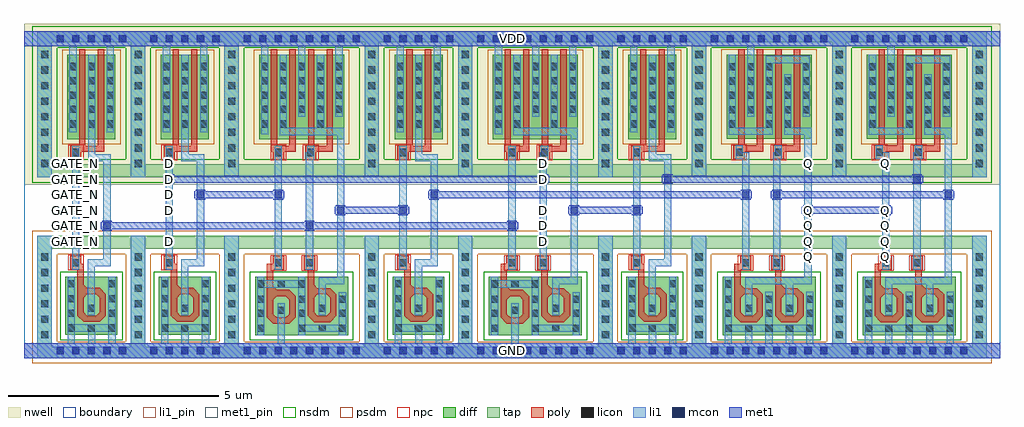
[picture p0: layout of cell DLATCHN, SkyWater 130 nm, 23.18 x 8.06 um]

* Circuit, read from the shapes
.subckt DLATCHN D GATE_N GND Q VDD
XM1 GND GATE_N n1 GND sky130_fd_pr__nfet_01v8 w=2.56 l=0.1473
XM2 GND D n2 GND sky130_fd_pr__nfet_01v8 w=2.56 l=0.1473
XM3 n3 n2 GND GND sky130_fd_pr__nfet_01v8 w=2.6 l=0.147
XM4 n3 n1 n4 GND sky130_fd_pr__nfet_01v8 w=2.56 l=0.1478
XM5 GND n4 n5 GND sky130_fd_pr__nfet_01v8 w=2.56 l=0.1473
XM6 n6 n1 GND GND sky130_fd_pr__nfet_01v8 w=2.6 l=0.147
XM7 n6 D n7 GND sky130_fd_pr__nfet_01v8 w=2.56 l=0.1478
XM8 GND n7 n8 GND sky130_fd_pr__nfet_01v8 w=2.56 l=0.1473
XM9 GND n5 Q GND sky130_fd_pr__nfet_01v8 w=2.56 l=0.1456
XM10 GND n9 Q GND sky130_fd_pr__nfet_01v8 w=2.56 l=0.1471
XM11 GND Q n9 GND sky130_fd_pr__nfet_01v8 w=2.56 l=0.1456
XM12 GND n8 n9 GND sky130_fd_pr__nfet_01v8 w=2.56 l=0.1469
XM13 n1 GATE_N VDD VDD sky130_fd_pr__pfet_01v8 w=2 l=0.15 m=2
XM14 n2 D VDD VDD sky130_fd_pr__pfet_01v8 w=2 l=0.15 m=2
XM15 n4 n2 VDD VDD sky130_fd_pr__pfet_01v8 w=2 l=0.15 m=2
XM16 n4 n1 VDD VDD sky130_fd_pr__pfet_01v8 w=2 l=0.15 m=2
XM17 n5 n4 VDD VDD sky130_fd_pr__pfet_01v8 w=2 l=0.15 m=2
XM18 n7 n1 VDD VDD sky130_fd_pr__pfet_01v8 w=2 l=0.15 m=2
XM19 n7 D VDD VDD sky130_fd_pr__pfet_01v8 w=2 l=0.15 m=2
XM20 n8 n7 VDD VDD sky130_fd_pr__pfet_01v8 w=2 l=0.15 m=2
XM21 VDD n5 n10 VDD sky130_fd_pr__pfet_01v8 w=2 l=0.15 m=2
XM22 Q n9 n10 VDD sky130_fd_pr__pfet_01v8 w=2 l=0.15 m=2
XM23 VDD Q n11 VDD sky130_fd_pr__pfet_01v8 w=2 l=0.15 m=2
XM24 n9 n8 n11 VDD sky130_fd_pr__pfet_01v8 w=2 l=0.15 m=2
.ends

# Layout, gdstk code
from math import pi, radians
import gdstk
lib = gdstk.Library(unit=1e-6, precision=1e-09)
def R(c, l, rs):  # rectangles x0, y0, x1, y1
    for r in rs: c.add(gdstk.rectangle(r[:2], r[2:], *l))
def A(c, l, x, y, w, h, nx, ny, dx, dy):  # array of equal rectangles
    R(c, l, [(x+i*dx, y+j*dy, x+i*dx+w, y+j*dy+h) for i in range(nx) for j in range(ny)])
def P(c, l, *ps):  # polygons
    for p in ps: c.add(gdstk.Polygon(p, *l))
nwell = (64, 20)
diff = (65, 20)
tap = (65, 44)
poly = (66, 20)
licon = (66, 44)
li1_pin = (67, 16)
li1 = (67, 20)
mcon = (67, 44)
met1_pin = (68, 16)
met1 = (68, 20)
nsdm = (93, 44)
psdm = (94, 20)
npc = (95, 20)
boundary = (235, 4)

diff_ring_side = lib.new_cell('diff_ring_side')
R(diff_ring_side, nwell, [(-0.435,3.93,0.435,7.75)])
R(diff_ring_side, tap, [(-0.17,-0.17,0.17,2.72), (-0.17,4.11,0.17,7.57)])
A(diff_ring_side, licon, -0.085, 0.285, 0.17, 0.17, 1, 6, 0, 0.37)
A(diff_ring_side, licon, -0.085, 4.355, 0.17, 0.17, 1, 8, 0, 0.37)
R(diff_ring_side, li1, [(-0.17,-0.17,0.17,2.72), (-0.17,4.11,0.17,7.57)])
R(diff_ring_side, met1, [(-0.17,-0.17,0.17,0.17), (-0.17,7.23,0.17,7.57)])
R(diff_ring_side, nsdm, [(-0.295,3.985,0.295,7.695)])
R(diff_ring_side, psdm, [(-0.295,-0.295,0.295,2.845)])

nmos_bottom = lib.new_cell('nmos_bottom')
R(nmos_bottom, diff, [(0,0,1.24,1.38)])
R(nmos_bottom, poly, [(0.43,0.27,0.81,0.42), (0.28,0.42,0.43,0.925), (0.81,0.42,0.96,0.925), (0.43,0.925,0.96,1.075), (0.81,1.075,0.96,1.51)])
P(nmos_bottom, poly, [(0.73,1.075),(0.81,1.075),(0.81,1.155)],
  [(0.28,0.925),(0.43,0.925),(0.43,1.075)],
  [(0.43,0.845),(0.43,0.925),(0.51,0.925)],
  [(0.73,0.925),(0.81,0.925),(0.81,0.845)],
  [(0.43,0.5),(0.43,0.42),(0.51,0.42)],
  [(0.73,0.42),(0.81,0.42),(0.81,0.5)],
  [(0.28,0.42),(0.43,0.42),(0.43,0.27)],
  [(0.81,0.27),(0.81,0.42),(0.96,0.42)])
A(nmos_bottom, licon, 0.05, 1.13, 0.17, 0.17, 3, 1, 0.485, 0)
R(nmos_bottom, licon, [(0.05,0.08,0.22,0.25), (1.02,0.08,1.19,0.25), (0.05,0.43,0.22,0.6), (1.02,0.43,1.19,0.6), (0.535,0.505,0.705,0.675), (0.05,0.77,0.22,0.94), (1.02,0.77,1.19,0.94)])
R(nmos_bottom, li1, [(0.05,0,0.22,1.13), (1.02,0,1.19,1.13), (0.535,0.425,0.705,0.755), (0.05,1.13,1.19,1.3), (0.05,1.3,0.22,1.38), (1.02,1.3,1.19,1.38)])
R(nmos_bottom, nsdm, [(-0.125,-0.125,1.365,1.505)])

pmos2 = lib.new_cell('pmos2')
R(pmos2, nwell, [(0.26,-2.18,1.76,0.18)])
R(pmos2, diff, [(0.44,-2,1.58,0)])
R(pmos2, poly, [(0.72,-2.305,1.31,-2.155), (0.72,-2.155,0.87,0.13), (1.16,-2.155,1.31,0.13)])
A(pmos2, licon, 0.49, -1.38, 0.17, 0.17, 3, 4, 0.44, 0.34)
R(pmos2, li1, [(0.49,-1.465,0.66,0.21), (0.93,-1.465,1.1,0), (1.37,-1.465,1.54,0.21)])
R(pmos2, psdm, [(0.315,-2.125,1.705,0.125)])

poly_li1_contact = lib.new_cell('poly_li1_contact')
R(poly_li1_contact, poly, [(-0.16,-0.14,0.17,0.13)])
R(poly_li1_contact, licon, [(-0.08,-0.09,0.09,0.08)])
R(poly_li1_contact, li1, [(-0.16,-0.09,0.17,0.08)])
R(poly_li1_contact, npc, [(-0.18,-0.19,0.19,0.18)])

nmos_top_trim1 = lib.new_cell('nmos_top_trim1')
R(nmos_top_trim1, diff, [(0,0,1.24,1.38)])
R(nmos_top_trim1, poly, [(0.43,0.31,0.81,0.46), (0.28,0.46,0.43,0.965), (0.81,0.46,0.96,0.965), (0.43,0.965,0.96,1.115), (0.81,1.115,0.96,1.545)])
P(nmos_top_trim1, poly, [(0.73,1.115),(0.81,1.115),(0.81,1.195)],
  [(0.28,0.965),(0.43,0.965),(0.43,1.115)],
  [(0.43,0.885),(0.43,0.965),(0.51,0.965)],
  [(0.73,0.965),(0.81,0.965),(0.81,0.885)],
  [(0.43,0.54),(0.43,0.46),(0.51,0.46)],
  [(0.73,0.46),(0.81,0.46),(0.81,0.54)],
  [(0.28,0.46),(0.43,0.46),(0.43,0.31)],
  [(0.81,0.31),(0.81,0.46),(0.96,0.46)])
A(nmos_top_trim1, licon, 0.05, 0.08, 0.17, 0.17, 3, 1, 0.485, 0)
R(nmos_top_trim1, licon, [(0.05,0.43,0.22,0.6), (1.02,0.43,1.19,0.6), (0.535,0.55,0.705,0.72), (0.05,0.77,0.22,0.94), (1.02,0.77,1.19,0.94), (1.02,1.13,1.19,1.3)])
R(nmos_top_trim1, li1, [(0.05,0,0.22,0.08), (1.02,0,1.19,0.08), (0.05,0.08,1.19,0.25), (0.05,0.25,0.22,1.02), (1.02,0.25,1.19,1.38), (0.535,0.47,0.705,0.805)])
R(nmos_top_trim1, nsdm, [(-0.125,-0.125,1.365,1.505)])

nand2x1_pcell = lib.new_cell('nand2x1_pcell')
R(nand2x1_pcell, nwell, [(0.435,3.93,2.895,7.75)])
R(nand2x1_pcell, diff, [(0.705,5.295,0.875,5.465), (1.145,5.295,1.315,5.465), (2.025,5.295,2.195,5.465)])
R(nand2x1_pcell, tap, [(0.17,-0.17,3.16,-0.15), (0.155,-0.15,3.175,0.085), (0.155,2.4,0.17,2.41), (3.16,2.4,3.175,2.41), (0.155,2.41,3.175,2.71), (0.17,2.71,3.16,2.72), (0.17,4.11,3.16,4.42), (0.17,7.315,3.16,7.57)])
R(nand2x1_pcell, poly, [(0.84,1.875,0.99,2.065), (1.81,1.91,1.96,1.915)])
A(nand2x1_pcell, licon, 0.285, -0.085, 0.17, 0.17, 8, 2, 0.37, 7.4)
R(nand2x1_pcell, licon, [(0.705,5.295,0.875,5.465), (1.145,5.295,1.315,5.465), (2.025,5.295,2.195,5.465)])
R(nand2x1_pcell, li1, [(0.17,-0.17,3.16,-0.15), (0.155,-0.15,3.175,0.16), (0.17,0.16,3.16,0.17), (1.095,0.17,1.265,0.835), (2.065,1.165,2.235,1.57), (2.065,1.57,2.675,1.74), (2.505,1.74,2.675,5.115), (1.025,2.165,1.195,4.54), (1.765,2.165,1.785,2.205), (1.765,2.205,1.935,4.54), (1.765,4.54,1.805,4.71), (1.145,5.115,2.675,5.285), (0.705,5.135,0.875,5.555), (1.145,5.285,1.315,5.555), (2.025,5.285,2.195,5.555), (0.17,7.23,3.16,7.57)])
A(nand2x1_pcell, mcon, 0.285, -0.085, 0.17, 0.17, 8, 2, 0.37, 7.4)
R(nand2x1_pcell, met1, [(0.17,-0.17,3.16,-0.15), (0.155,-0.15,3.175,0.16), (0.17,0.16,3.16,0.17), (0.17,7.23,3.16,7.57)])
R(nand2x1_pcell, nsdm, [(0.045,3.985,3.285,4.545), (0.045,7.19,3.285,7.695)])
R(nand2x1_pcell, psdm, [(0.045,-0.295,3.285,-0.275), (0.03,-0.275,3.3,0.21), (0.03,2.275,0.295,2.285), (3.035,2.275,3.3,2.285), (0.03,2.285,3.3,2.835), (0.045,2.835,3.285,2.845), (0.58,5.17,1.44,5.59), (1.9,5.17,2.32,5.59)])
nand2x1_pcell.add(gdstk.Reference(diff_ring_side, (0,0)))
nand2x1_pcell.add(gdstk.Reference(nmos_bottom, (1.8,0.365), rotation=pi, x_reflection=True))
nand2x1_pcell.add(gdstk.Reference(pmos2, (0.215,7.02)))
nand2x1_pcell.add(gdstk.Reference(poly_li1_contact, (1.115,4.705), rotation=3*pi/2))
nand2x1_pcell.add(gdstk.Reference(poly_li1_contact, (1.115,2.085), rotation=3*pi/2))
nand2x1_pcell.add(gdstk.Reference(nmos_top_trim1, (2.77,0.365), rotation=pi, x_reflection=True))
nand2x1_pcell.add(gdstk.Reference(pmos2, (1.095,7.02)))
nand2x1_pcell.add(gdstk.Reference(poly_li1_contact, (1.845,2.075), rotation=pi/2))
nand2x1_pcell.add(gdstk.Reference(poly_li1_contact, (1.885,4.705), rotation=3*pi/2))
nand2x1_pcell.add(gdstk.Reference(diff_ring_side, (3.33,0)))

li1_m1_contact = lib.new_cell('li1_M1_contact')
R(li1_m1_contact, li1, [(-0.085,-0.165,0.085,0.165)])
R(li1_m1_contact, mcon, [(-0.085,-0.085,0.085,0.085)])
R(li1_m1_contact, met1, [(-0.115,-0.115,0.115,-0.085), (-0.265,-0.085,0.145,0.085), (-0.115,0.085,0.115,0.115)])

nmos_top = lib.new_cell('nmos_top')
R(nmos_top, diff, [(0,0,1.23,1.38)])
R(nmos_top, poly, [(0.42,0.31,0.8,0.46), (0.27,0.46,0.42,0.965), (0.8,0.46,0.95,0.965), (0.42,0.965,0.95,1.115), (0.8,1.115,0.95,1.54)])
P(nmos_top, poly, [(0.72,1.115),(0.8,1.115),(0.8,1.195)],
  [(0.27,0.965),(0.42,0.965),(0.42,1.115)],
  [(0.42,0.885),(0.42,0.965),(0.5,0.965)],
  [(0.72,0.965),(0.8,0.965),(0.8,0.885)],
  [(0.42,0.54),(0.42,0.46),(0.5,0.46)],
  [(0.72,0.46),(0.8,0.46),(0.8,0.54)],
  [(0.27,0.46),(0.42,0.46),(0.42,0.31)],
  [(0.8,0.31),(0.8,0.46),(0.95,0.46)])
R(nmos_top, licon, [(0.04,0.08,0.21,0.25), (0.53,0.08,0.7,0.25), (1.01,0.08,1.18,0.25), (0.04,0.43,0.21,0.6), (1.01,0.43,1.18,0.6), (0.53,0.55,0.7,0.72), (0.04,0.77,0.21,0.94), (1.01,0.77,1.18,0.94), (0.04,1.13,0.21,1.3), (1.01,1.13,1.18,1.3)])
R(nmos_top, li1, [(0.04,0,0.21,0.08), (1.01,0,1.18,0.08), (0.04,0.08,1.18,0.25), (0.04,0.25,0.21,1.38), (1.01,0.25,1.18,1.38), (0.53,0.47,0.7,0.805)])
R(nmos_top, nsdm, [(-0.125,-0.125,1.355,1.505)])

invx1_pcell = lib.new_cell('invx1_pcell')
R(invx1_pcell, nwell, [(-0.435,3.93,2.655,7.75)])
A(invx1_pcell, diff, 0.59, 5.295, 0.17, 0.17, 3, 1, 0.44, 0)
R(invx1_pcell, tap, [(0.17,-0.17,2.05,0.085), (0.17,2.41,2.05,2.72), (0.17,4.11,2.05,4.42), (0.17,7.315,2.05,7.57)])
R(invx1_pcell, poly, [(0.775,1.905,0.925,2.065)])
A(invx1_pcell, licon, 0.285, -0.085, 0.17, 0.17, 5, 2, 0.37, 7.4)
A(invx1_pcell, licon, 0.59, 5.295, 0.17, 0.17, 3, 1, 0.44, 0)
R(invx1_pcell, li1, [(0.17,-0.17,2.05,0.17), (0.545,0.17,0.715,0.45), (1.03,0.17,1.2,0.455), (1.515,0.17,1.685,0.45), (1.025,1.165,1.195,1.995), (1.025,1.995,1.565,2.165), (1.395,2.165,1.565,4.495), (0.655,2.245,0.825,4.54), (1.03,4.495,1.565,4.665), (1.03,4.665,1.2,5.555), (0.59,5.185,0.76,5.555), (1.47,5.185,1.64,5.555), (0.17,7.23,2.05,7.57)])
A(invx1_pcell, mcon, 0.285, -0.085, 0.17, 0.17, 5, 2, 0.37, 7.4)
R(invx1_pcell, met1, [(0.17,-0.17,2.05,0.17), (0.17,7.23,2.05,7.57)])
R(invx1_pcell, nsdm, [(0.045,3.985,2.175,4.545), (0.045,7.19,2.175,7.695)])
R(invx1_pcell, psdm, [(0.045,-0.295,2.175,0.21), (0.045,2.285,2.175,2.845), (0.465,5.17,1.765,5.59)])
invx1_pcell.add(gdstk.Reference(poly_li1_contact, (0.735,2.08), rotation=pi/2))
invx1_pcell.add(gdstk.Reference(poly_li1_contact, (0.745,4.705), rotation=3*pi/2))
invx1_pcell.add(gdstk.Reference(pmos2, (0.1,7.02)))
invx1_pcell.add(gdstk.Reference(nmos_top, (1.725,0.37), rotation=pi, x_reflection=True))
invx1_pcell.add(gdstk.Reference(diff_ring_side, (0,0)))
invx1_pcell.add(gdstk.Reference(diff_ring_side, (2.22,0)))

and2x1_pcell = lib.new_cell('and2x1_pcell')
R(and2x1_pcell, met1, [(2.735,3.245,3.805,3.415)])
and2x1_pcell.add(gdstk.Reference(nand2x1_pcell, (0,0)))
and2x1_pcell.add(gdstk.Reference(li1_m1_contact, (4.07,3.33)))
and2x1_pcell.add(gdstk.Reference(li1_m1_contact, (2.59,3.33), rotation=pi))
and2x1_pcell.add(gdstk.Reference(invx1_pcell, (3.33,0)))

pmos2_1 = lib.new_cell('pmos2_1')
R(pmos2_1, nwell, [(0.26,-2.175,1.76,0.185)])
R(pmos2_1, diff, [(0.44,-1.995,1.58,0.005)])
R(pmos2_1, poly, [(0.72,-2.3,1.31,-2.15), (0.72,-2.15,0.87,0.135), (1.16,-2.15,1.31,0.135)])
A(pmos2_1, licon, 0.49, -1.385, 0.17, 0.17, 3, 3, 0.44, 0.34)
A(pmos2_1, li1, 0.49, -1.465, 0.17, 1.01, 3, 1, 0.44, 0)
R(pmos2_1, psdm, [(0.315,-2.12,1.705,0.13)])

nmos_top_trim2 = lib.new_cell('nmos_top_trim2')
R(nmos_top_trim2, diff, [(0,0,1.24,1.38)])
R(nmos_top_trim2, poly, [(0.43,0.31,0.81,0.46), (0.28,0.46,0.43,0.89), (0.81,0.46,0.96,0.89), (0.28,0.89,0.435,0.965), (0.805,0.89,0.96,0.965), (0.43,0.965,0.96,1.115), (0.81,1.115,0.96,1.545)])
P(nmos_top_trim2, poly, [(0.73,1.115),(0.81,1.115),(0.81,1.195)],
  [(0.28,0.965),(0.43,0.965),(0.43,1.115)],
  [(0.435,0.89),(0.435,0.965),(0.51,0.965)],
  [(0.73,0.965),(0.805,0.965),(0.805,0.89)],
  [(0.43,0.54),(0.43,0.46),(0.51,0.46)],
  [(0.73,0.46),(0.81,0.46),(0.81,0.54)],
  [(0.28,0.46),(0.43,0.46),(0.43,0.31)],
  [(0.81,0.31),(0.81,0.46),(0.96,0.46)])
A(nmos_top_trim2, licon, 0.05, 0.08, 0.17, 0.17, 3, 1, 0.485, 0)
R(nmos_top_trim2, licon, [(0.05,0.43,0.22,0.6), (1.02,0.43,1.19,0.6), (0.535,0.55,0.705,0.72), (0.05,0.77,0.22,0.94), (1.02,0.77,1.19,0.94)])
R(nmos_top_trim2, li1, [(0.05,0,0.22,0.08), (1.02,0,1.19,0.08), (0.05,0.08,1.19,0.25), (0.05,0.25,0.22,1.025), (1.02,0.25,1.19,1.025), (0.535,0.47,0.705,0.805)])
R(nmos_top_trim2, nsdm, [(-0.125,-0.125,1.365,1.505)])

nor2x1_pcell = lib.new_cell('nor2x1_pcell')
R(nor2x1_pcell, nwell, [(0.435,3.93,2.895,7.75)])
A(nor2x1_pcell, diff, 0.705, 6.655, 0.17, 0.17, 3, 1, 0.44, 0)
R(nor2x1_pcell, diff, [(0.705,5.295,0.875,5.465), (1.585,5.295,1.755,5.465), (2.025,5.295,2.195,5.465), (2.465,6.655,2.635,6.825)])
R(nor2x1_pcell, tap, [(0.17,-0.17,3.16,0.085), (0.17,2.41,3.16,2.72), (0.17,4.11,3.16,4.42), (0.17,7.315,3.16,7.57)])
R(nor2x1_pcell, poly, [(0.84,1.875,0.99,2.065), (1.81,1.91,1.96,1.915)])
A(nor2x1_pcell, licon, 0.285, -0.085, 0.17, 0.17, 8, 2, 0.37, 7.4)
A(nor2x1_pcell, licon, 0.705, 6.655, 0.17, 0.17, 3, 1, 0.44, 0)
R(nor2x1_pcell, licon, [(0.705,5.295,0.875,5.465), (1.585,5.295,1.755,5.465), (2.025,5.295,2.195,5.465), (2.465,6.655,2.635,6.825)])
A(nor2x1_pcell, li1, 0.61, 0.17, 0.17, 0.195, 3, 1, 0.97, 0)
R(nor2x1_pcell, li1, [(0.17,-0.17,3.16,0.17), (1.095,0.17,1.265,0.445), (2.065,0.17,2.235,0.445), (1.095,1.165,1.265,1.57), (2.065,1.165,2.235,1.57), (1.095,1.57,2.675,1.74), (2.505,1.74,2.675,5.125), (1.025,2.165,1.195,4.71), (1.765,2.165,1.785,2.205), (1.765,2.205,1.935,4.54), (1.765,4.54,1.805,4.71), (0.705,5.125,1.755,5.295), (2.025,5.125,2.675,5.295), (0.705,5.295,0.875,5.555), (1.585,5.295,1.755,5.555), (2.025,5.295,2.195,5.555), (0.705,6.565,0.875,7.025), (1.145,6.565,1.315,7.23), (1.585,6.565,1.755,6.825), (2.465,6.565,2.635,6.825), (1.585,6.825,2.635,6.995), (0.17,7.23,3.16,7.57)])
A(nor2x1_pcell, mcon, 0.285, -0.085, 0.17, 0.17, 8, 2, 0.37, 7.4)
R(nor2x1_pcell, met1, [(0.17,-0.17,3.16,0.17), (0.17,7.23,3.16,7.57)])
R(nor2x1_pcell, nsdm, [(0.045,3.985,3.285,4.545), (0.045,7.19,3.285,7.695)])
R(nor2x1_pcell, psdm, [(0.045,-0.295,3.285,0.21), (0.045,2.285,3.285,2.845), (0.58,5.17,1,5.59), (1.46,5.17,2.32,5.59), (0.58,6.53,1.88,6.95), (2.34,6.53,2.76,6.95)])
nor2x1_pcell.add(gdstk.Reference(diff_ring_side, (0,0)))
nor2x1_pcell.add(gdstk.Reference(nmos_top_trim1, (1.8,0.365), rotation=pi, x_reflection=True))
nor2x1_pcell.add(gdstk.Reference(pmos2_1, (0.215,7.02)))
nor2x1_pcell.add(gdstk.Reference(poly_li1_contact, (0.96,4.71), rotation=3*pi/2))
nor2x1_pcell.add(gdstk.Reference(poly_li1_contact, (1.115,2.085), rotation=3*pi/2))
nor2x1_pcell.add(gdstk.Reference(nmos_top_trim2, (2.77,0.365), rotation=pi, x_reflection=True))
nor2x1_pcell.add(gdstk.Reference(pmos2_1, (1.095,7.02)))
nor2x1_pcell.add(gdstk.Reference(poly_li1_contact, (1.845,2.075), rotation=pi/2))
nor2x1_pcell.add(gdstk.Reference(poly_li1_contact, (1.89,4.71), rotation=3*pi/2))
nor2x1_pcell.add(gdstk.Reference(diff_ring_side, (3.33,0)))

dlatchn = lib.new_cell('DLATCHN')
R(dlatchn, nwell, [(0,4.11,23.18,7.94)])
R(dlatchn, tap, [(0.32,0,22.86,0.05), (0.32,7.75,22.86,7.76)])
A(dlatchn, li1_pin, 18.535, 2.315, 0.17, 0.17, 1, 4, 0, 0.37)
A(dlatchn, li1_pin, 20.385, 2.315, 0.17, 0.17, 1, 4, 0, 0.37)
A(dlatchn, li1_pin, 1.145, 2.685, 0.17, 0.17, 1, 6, 0, 0.37)
A(dlatchn, li1_pin, 12.245, 2.685, 0.17, 0.17, 1, 3, 0, 0.37)
A(dlatchn, li1_pin, 3.365, 3.425, 0.17, 0.17, 1, 4, 0, 0.37)
R(dlatchn, li1_pin, [(3.365,2.685,3.535,2.855), (12.245,4.165,12.415,4.335), (12.245,4.535,12.415,4.705), (18.535,4.535,18.705,4.705), (20.385,4.535,20.555,4.705)])
A(dlatchn, li1, 18.535, 2.315, 0.17, 0.17, 1, 4, 0, 0.37)
A(dlatchn, li1, 20.385, 2.315, 0.17, 0.17, 1, 4, 0, 0.37)
A(dlatchn, li1, 1.145, 2.685, 0.17, 0.17, 1, 6, 0, 0.37)
A(dlatchn, li1, 12.245, 2.685, 0.17, 0.17, 1, 3, 0, 0.37)
A(dlatchn, li1, 3.365, 3.425, 0.17, 0.17, 1, 4, 0, 0.37)
R(dlatchn, li1, [(0,0,23.18,0.085), (0,0.085,0.34,0.35), (22.79,0.085,23.18,0.35), (3.365,2.685,3.535,2.855), (12.245,4.165,12.415,4.335), (12.245,4.535,12.415,4.705), (18.535,4.535,18.705,4.705), (20.385,4.535,20.555,4.705), (0,7.41,0.39,7.675), (22.86,7.41,23.18,7.675), (0,7.675,23.18,7.76)])
R(dlatchn, met1_pin, [(0,0,23.18,0.35), (0,7.41,23.18,7.76)])
R(dlatchn, met1, [(0,0,23.18,0.35), (2.235,3.055,11.325,3.225), (18.885,3.425,20.205,3.595), (4.455,3.795,5.775,3.965), (10.005,3.795,16.875,3.965), (18.145,3.795,21.685,3.965), (3.715,4.165,12.065,4.335), (15.555,4.165,20.945,4.335), (0,7.41,23.18,7.76)])
R(dlatchn, nsdm, [(0.195,7.625,22.985,7.885)])
R(dlatchn, psdm, [(0.195,-0.125,22.985,0.175)])
R(dlatchn, boundary, [(0,0,23.18,7.76)])
dlatchn.add(gdstk.Reference(and2x1_pcell, (4.93,0.18)))
dlatchn.add(gdstk.Reference(invx1_pcell, (2.71,0.18)))
dlatchn.add(gdstk.Reference(invx1_pcell, (0.49,0.18)))
dlatchn.add(gdstk.Reference(li1_m1_contact, (3.45,4.25), rotation=pi))
dlatchn.add(gdstk.Reference(li1_m1_contact, (4.19,3.88), rotation=pi))
dlatchn.add(gdstk.Reference(li1_m1_contact, (6.04,3.88)))
dlatchn.add(gdstk.Reference(li1_m1_contact, (1.97,3.14), rotation=pi))
dlatchn.add(gdstk.Reference(and2x1_pcell, (10.48,0.18)))
dlatchn.add(gdstk.Reference(li1_m1_contact, (6.78,3.14), rotation=pi))
dlatchn.add(gdstk.Reference(li1_m1_contact, (11.59,3.14)))
dlatchn.add(gdstk.Reference(li1_m1_contact, (12.33,4.25)))
dlatchn.add(gdstk.Reference(li1_m1_contact, (9.74,3.88), rotation=pi))
dlatchn.add(gdstk.Reference(li1_m1_contact, (17.14,3.88)))
dlatchn.add(gdstk.Reference(li1_m1_contact, (15.29,4.25), rotation=pi))
dlatchn.add(gdstk.Reference(li1_m1_contact, (17.88,3.88), rotation=pi))
dlatchn.add(gdstk.Reference(li1_m1_contact, (18.62,3.51), rotation=pi))
dlatchn.add(gdstk.Reference(nor2x1_pcell, (16.03,0.18)))
dlatchn.add(gdstk.Reference(nor2x1_pcell, (19.36,0.18)))
dlatchn.add(gdstk.Reference(li1_m1_contact, (21.21,4.25)))
dlatchn.add(gdstk.Reference(li1_m1_contact, (21.95,3.88)))
dlatchn.add(gdstk.Reference(li1_m1_contact, (20.47,3.51)))
dlatchn.add(gdstk.Label('Q', (20.47,4.62), layer=67, texttype=5))
dlatchn.add(gdstk.Label('Q', (20.47,3.51), layer=67, texttype=5))
dlatchn.add(gdstk.Label('Q', (20.47,3.14), layer=67, texttype=5))
dlatchn.add(gdstk.Label('Q', (20.47,2.77), layer=67, texttype=5))
dlatchn.add(gdstk.Label('Q', (20.47,2.4), layer=67, texttype=5))
dlatchn.add(gdstk.Label('Q', (18.62,4.62), layer=67, texttype=5))
dlatchn.add(gdstk.Label('Q', (18.62,2.4), layer=67, texttype=5))
dlatchn.add(gdstk.Label('Q', (18.62,2.77), layer=67, texttype=5))
dlatchn.add(gdstk.Label('Q', (18.62,3.14), layer=67, texttype=5))
dlatchn.add(gdstk.Label('Q', (18.62,3.51), layer=67, texttype=5))
dlatchn.add(gdstk.Label('D', (12.33,2.77), layer=67, texttype=5))
dlatchn.add(gdstk.Label('D', (12.33,3.14), layer=67, texttype=5))
dlatchn.add(gdstk.Label('D', (12.33,4.62), layer=67, texttype=5))
dlatchn.add(gdstk.Label('D', (12.33,4.25), layer=67, texttype=5))
dlatchn.add(gdstk.Label('D', (12.33,3.51), layer=67, texttype=5))
dlatchn.add(gdstk.Label('D', (3.45,2.77), layer=67, texttype=5))
dlatchn.add(gdstk.Label('D', (3.45,3.51), layer=67, texttype=5))
dlatchn.add(gdstk.Label('D', (3.45,3.88), layer=67, texttype=5))
dlatchn.add(gdstk.Label('D', (3.45,4.62), layer=67, texttype=5))
dlatchn.add(gdstk.Label('D', (3.45,4.25), layer=67, texttype=5))
dlatchn.add(gdstk.Label('GATE_N', (1.23,4.62), layer=67, texttype=5))
dlatchn.add(gdstk.Label('GATE_N', (1.23,4.25), layer=67, texttype=5))
dlatchn.add(gdstk.Label('GATE_N', (1.23,3.88), layer=67, texttype=5))
dlatchn.add(gdstk.Label('GATE_N', (1.23,3.51), layer=67, texttype=5))
dlatchn.add(gdstk.Label('GATE_N', (1.23,2.77), layer=67, texttype=5))
dlatchn.add(gdstk.Label('GATE_N', (1.23,3.14), layer=67, texttype=5))
dlatchn.add(gdstk.Label('VDD', (11.59,7.585), layer=68, texttype=5))
dlatchn.add(gdstk.Label('GND', (11.59,0.175), layer=68, texttype=5))

lib.write_gds('DLATCHN.gds')
